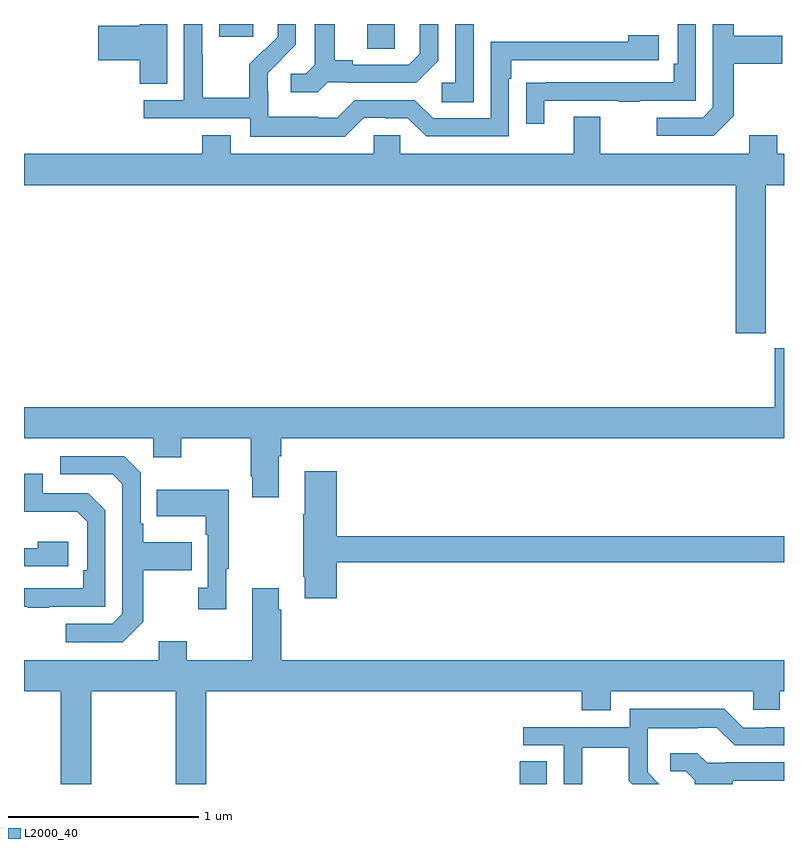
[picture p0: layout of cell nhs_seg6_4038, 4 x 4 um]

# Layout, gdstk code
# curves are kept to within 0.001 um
import gdstk
lib = gdstk.Library(unit=1e-6, precision=1e-09)
def R(c, l, rs):  # rectangles x0, y0, x1, y1
    for r in rs: c.add(gdstk.rectangle(r[:2], r[2:], *l))
def P(c, l, *ps):  # polygons
    for p in ps: c.add(gdstk.Polygon(p, *l))
L2000_40 = (2000, 40)

nhs_seg6_4038 = lib.new_cell('nhs_seg6_4038')
R(nhs_seg6_4038, L2000_40, [(351.608,961.5,351.751,961.619), (350.807,965.371,350.952,965.5), (350.027,965.433,350.206,965.5)])
P(nhs_seg6_4038, L2000_40, [(350.787,965.007),(350.903,965.007),(350.903,965.004),(351.021,965.004),(351.117,964.908),(351.552,964.908),(351.552,965.213),(351.565,965.213),(351.565,965.31),(352.342,965.31),(352.342,965.44),(352.181,965.44),(352.181,965.406),(351.456,965.406),(351.456,965.004),(351.153,965.004),(351.057,965.1),(350.742,965.1),(350.649,965.007),(350.549,965.007),(350.549,965.011),(350.286,965.011),(350.286,965.145),(350.284,965.145),(350.284,965.242),(350.43,965.39),(350.43,965.5),(350.336,965.5),(350.336,965.432),(350.265,965.361),(350.262,965.364),(350.185,965.287),(350.185,965.113),(349.941,965.113),(349.941,965.336),(349.938,965.336),(349.938,965.5),(349.842,965.5),(349.842,965.1),(349.629,965.1),(349.629,965.004),(350.19,965.004),(350.19,964.907),(350.687,964.907)],
  [(351.739,965.097),(352.129,965.097),(352.129,965.092),(352.241,965.092),(352.241,965.097),(352.536,965.097),(352.536,965.5),(352.44,965.5),(352.44,965.29),(352.42,965.29),(352.42,965.193),(351.745,965.193),(351.745,965.192),(351.643,965.192),(351.643,964.974),(351.739,964.974)],
  [(349.753,965.5),(349.61,965.5),(349.61,965.492),(349.392,965.492),(349.392,965.309),(349.61,965.309),(349.61,965.185),(349.753,965.185)],
  [(351.366,965.5),(351.27,965.5),(351.27,965.19),(351.198,965.19),(351.198,965.089),(351.366,965.089)],
  [(352.735,965.017),(352.735,965.29),(352.991,965.29),(352.991,965.437),(352.735,965.437),(352.735,965.5),(352.626,965.5),(352.626,965.061),(352.572,965.007),(352.329,965.007),(352.329,964.911),(352.629,964.911)],
  [(350.598,965.193),(350.692,965.193),(350.692,965.19),(351.064,965.19),(351.18,965.306),(351.18,965.5),(351.083,965.5),(351.083,965.343),(351.026,965.286),(350.731,965.286),(350.731,965.309),(350.635,965.309),(350.635,965.5),(350.531,965.5),(350.531,965.285),(350.484,965.238),(350.403,965.238),(350.403,965.141),(350.546,965.141)],
  [(352.905,964.652),(353,964.652),(353,964.816),(352.965,964.816),(352.965,964.915),(352.817,964.915),(352.817,964.816),(352.033,964.816),(352.033,965.011),(351.893,965.011),(351.893,964.816),(350.979,964.816),(350.979,964.914),(350.841,964.914),(350.841,964.816),(350.089,964.816),(350.089,964.915),(349.937,964.915),(349.937,964.816),(349,964.816),(349,964.652),(352.745,964.652),(352.745,963.873),(352.905,963.873)],
  [(350.341,963.224),(350.354,963.224),(350.354,963.32),(353,963.32),(353,963.793),(352.952,963.793),(352.952,963.484),(349,963.484),(349,963.32),(349.68,963.32),(349.68,963.221),(349.827,963.221),(349.827,963.32),(350.194,963.32),(350.194,963.121),(350.201,963.121),(350.201,963.009),(350.341,963.009)],
  [(349.627,962.353),(349.627,962.626),(349.883,962.626),(349.883,962.773),(349.627,962.773),(349.627,962.869),(349.614,962.869),(349.614,963.138),(349.527,963.225),(349.191,963.225),(349.191,963.129),(349.467,963.129),(349.518,963.078),(349.518,962.397),(349.464,962.343),(349.221,962.343),(349.221,962.247),(349.521,962.247)],
  [(350.645,962.668),(353,962.668),(353,962.804),(350.645,962.804),(350.645,963.145),(350.477,963.145),(350.477,962.921),(350.47,962.921),(350.47,962.59),(350.477,962.59),(350.477,962.478),(350.645,962.478)],
  [(349.133,962.433),(349.428,962.433),(349.428,962.94),(349.338,963.03),(349.098,963.03),(349.098,963.132),(349,963.132),(349,963.036),(349.002,963.036),(349.002,962.933),(349.279,962.933),(349.332,962.88),(349.332,962.626),(349.312,962.626),(349.312,962.529),(349,962.529),(349,962.433),(349.021,962.433),(349.021,962.428),(349.133,962.428)],
  [(350.065,962.633),(350.077,962.633),(350.077,963.049),(349.699,963.049),(349.699,962.909),(349.956,962.909),(349.956,962.813),(349.968,962.813),(349.968,962.534),(349.917,962.534),(349.917,962.421),(350.065,962.421)],
  [(349.234,962.776),(349.073,962.776),(349.073,962.742),(349,962.742),(349,962.646),(349.234,962.646)],
  [(349.353,961.988),(349.798,961.988),(349.798,961.5),(349.958,961.5),(349.958,961.988),(351.935,961.988),(351.935,961.889),(352.087,961.889),(352.087,961.988),(352.839,961.988),(352.839,961.89),(352.977,961.89),(352.977,961.988),(353,961.988),(353,962.152),(350.354,962.152),(350.354,962.417),(350.341,962.417),(350.341,962.53),(350.201,962.53),(350.201,962.152),(349.857,962.152),(349.857,962.251),(349.709,962.251),(349.709,962.152),(349,962.152),(349,961.988),(349.193,961.988),(349.193,961.5),(349.353,961.5)],
  [(351.939,961.692),(352.183,961.692),(352.183,961.517),(352.2,961.5),(352.344,961.5),(352.282,961.562),(352.282,961.659),(352.284,961.659),(352.284,961.793),(352.547,961.793),(352.547,961.797),(352.647,961.797),(352.74,961.704),(353,961.704),(353,961.8),(352.901,961.8),(352.901,961.797),(352.785,961.797),(352.685,961.897),(352.188,961.897),(352.188,961.8),(351.627,961.8),(351.627,961.704),(351.84,961.704),(351.84,961.5),(351.939,961.5)],
  [(352.729,961.518),(353,961.518),(353,961.614),(352.69,961.614),(352.69,961.611),(352.596,961.611),(352.544,961.663),(352.401,961.663),(352.401,961.566),(352.482,961.566),(352.529,961.519),(352.529,961.5),(352.729,961.5)])

lib.write_gds('nhs_seg6_4038.gds')
